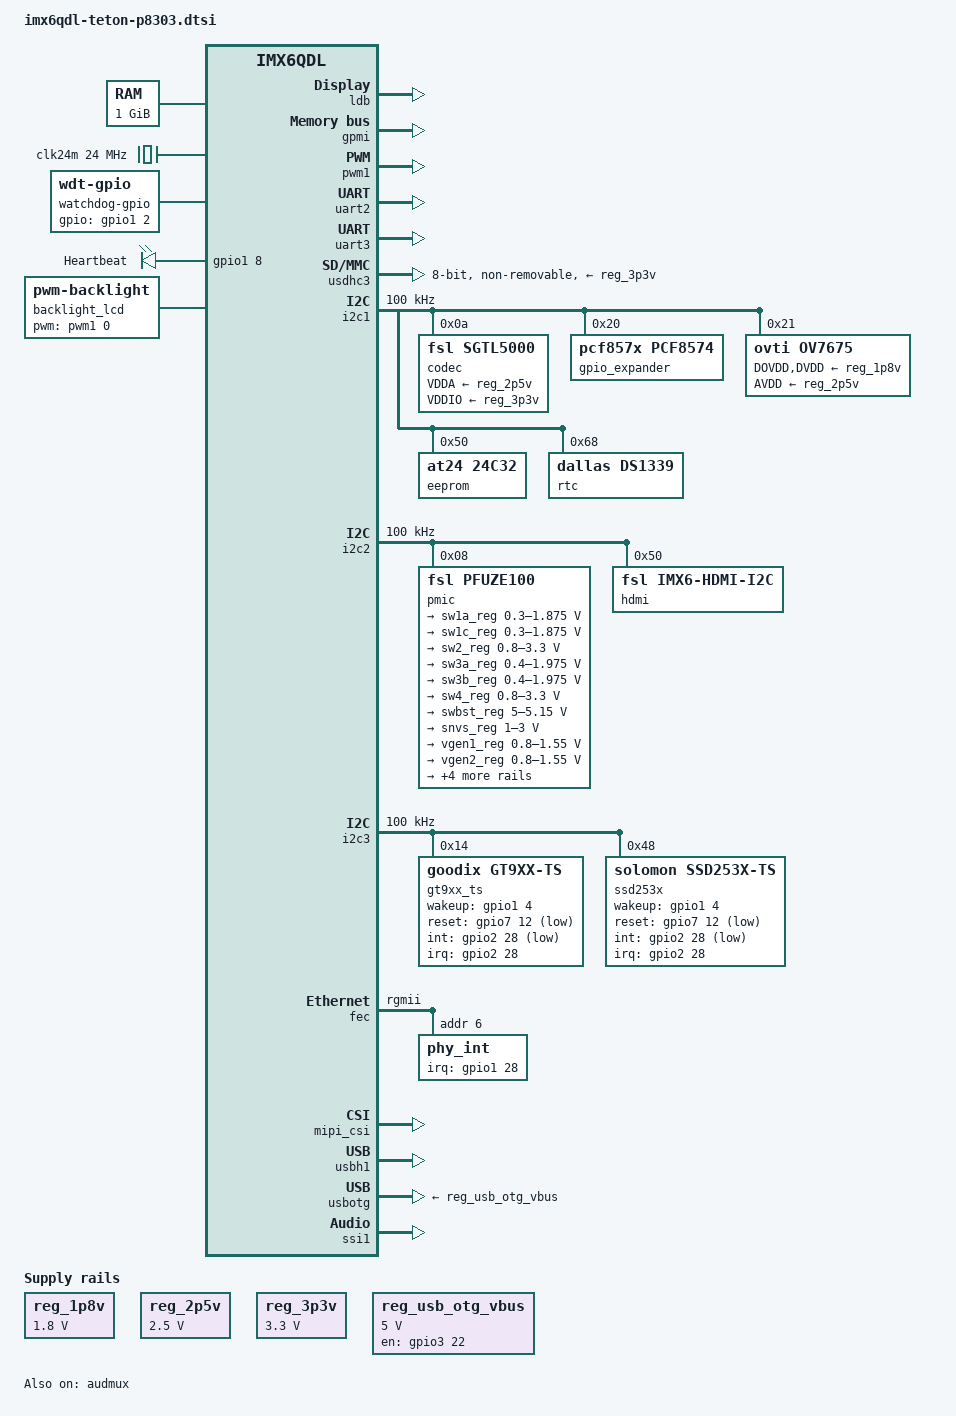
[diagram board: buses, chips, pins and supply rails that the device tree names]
/*
 * Copyright 2015-2016 Analogue & Micro, Ltd.
 * Copyright 2012 Freescale Semiconductor, Inc.
 * Copyright 2011 Linaro Ltd.
 *
 * The code contained herein is licensed under the GNU General Public
 * License. You may obtain a copy of the GNU General Public License
 * Version 2 or later at the following locations:
 *
 * http://www.opensource.org/licenses/gpl-license.html
 * http://www.gnu.org/copyleft/gpl.html
 */
/ {
	aliases {
		mmc0 = &usdhc3;
		mxcfb0 = &ldb_display;
		mxcfb1 = &lcd_display;
		ldb_display = &ldb_display;
		lcd_display = &lcd_display;
	};

	memory {
		reg = <0x10000000 0x40000000>;
	};

	clocks {
		clk24m: clk24m {
			compatible = "fixed-clock";
			#clock-cells = <0>;
			clock-frequency = <24000000>;
		};
	};

	regulators {
		compatible = "simple-bus";

		reg_1p8v: 1p8v {
			compatible = "regulator-fixed";
			regulator-name = "1P8V";
			regulator-min-microvolt = <1800000>;
			regulator-max-microvolt = <1800000>;
			regulator-always-on;
		};

		reg_2p5v: 2p5v {
			compatible = "regulator-fixed";
			regulator-name = "2P5V";
			regulator-min-microvolt = <2500000>;
			regulator-max-microvolt = <2500000>;
			regulator-always-on;
		};

		reg_3p3v: 3p3v {
			compatible = "regulator-fixed";
			regulator-name = "3P3V";
			regulator-min-microvolt = <3300000>;
			regulator-max-microvolt = <3300000>;
			regulator-always-on;
		};

		reg_usb_otg_vbus: usb_otg_vbus {
			compatible = "regulator-fixed";
			regulator-name = "usb_otg_vbus";
			regulator-min-microvolt = <5000000>;
			regulator-max-microvolt = <5000000>;
			gpio = <&gpio3 22 0>;
			enable-active-high;
		};
	};

        watchdog-gpio {
                compatible = "linux,wdt-gpio";
                gpios = <&gpio1 2 0>;
                gpio-device = &gpio1;
		hw_algo = "toggle";
		hw_margin_ms = <100>;
        };

	leds {
		compatible = "gpio-leds";

		debug-led {
			label = "Heartbeat";
			gpios = <&gpio1 8 0>;
			linux,default-trigger = "heartbeat";
		};
	};

	sound: sgtl5000 {
		compatible = "fsl,imx6q-teton-p8303-sgtl5000",
			     "fsl,imx-audio-sgtl5000";
		model = "imx6q-teton-p8303-sgtl5000";
		cpu-dai = <&ssi1>;
		audio-codec = <&codec>;
		audio-routing =
			"MIC_IN", "Mic Jack",
			"Mic Jack", "Mic Bias",
			"Headphone Jack", "HP_OUT";
		mux-int-port = <1>;
		mux-ext-port = <3>;
	};

	ldb_display: fb@0 {
		compatible = "fsl,mxc_sdc_fb";
		disp_dev = "ldb";
		interface_pix_fmt = "RGB666";
		default_bpp = <18>;
		int_clk = <0>;
		late_init = <0>;
		status = "okay";
	};

	lcd_display: fb@1 {
		compatible = "fsl,mxc_sdc_fb";
		disp_dev = "lcd";
		interface_pix_fmt = "RGB24";
		mode_str ="CLAA-WVGA";
		default_bpp = <24>;
		int_clk = <0>;
		late_init = <0>;
		status = "okay";
	};

        lcd@0 {
                compatible = "fsl,lcd";
                ipu_id = <0>;
                disp_id = <0>;
                default_ifmt = "RGB565";
                pinctrl-names = "default";
                pinctrl-0 = <&pinctrl_ipu1_4>;
                status = "okay";
        };

	backlight_lcd {
		compatible = "pwm-backlight";
		pwms = <&pwm1 0 5000000>;
		brightness-levels = <0 4 8 16 32 64 128 255>;
		default-brightness-level = <7>;
	};

	v4l2_cap_0: v4l2_cap_0 {
		compatible = "fsl,imx6q-v4l2-capture";
		ipu_id = <0>;
		csi_id = <0>;
		mclk_source = <0>;
		status = "okay";
	};

	v4l2_out {
		compatible = "fsl,mxc_v4l2_output";
		status = "okay";
	};
};

&ldb {
	ext_ref = <1>;
	status = "okay";

	lvds-channel@0 {
		crtc = "ipu1-di0";
		fsl,data-mapping = "spwg";
		fsl,data-width = <18>;
		status = "okay";
		primary;

		display-timings {
			ldb_timing: lp101wx1 {
				clock-frequency = <72000000>;
				hactive = <1280>;
				vactive = <800>;
				hback-porch = <48>;
				hfront-porch = <80>;
				vback-porch = <15>;
				vfront-porch = <2>;
				hsync-len = <32>;
				vsync-len = <6>;
			};
		};
	};
};

&gpmi {
        pinctrl-names = "default";
        pinctrl-0 = <&pinctrl_gpmi_nand_1>;
        status = "okay";
        nand-on-flash-bbt;
	/* FLASH Layout - needs to match U-Boot info */
	partition@0000000 {
	        label = "U-Boot";
		reg = <0x00000000 0x003E0000>;
	};
	partition@0780000 {
	        label = "U-Boot env";
		reg = <0x003E0000 0x00020000>;
	};
	partition@0800000 {
	        label = "Linux kernel";
		reg = <0x00400000 0x02000000>;
	};
	partition@4800000 {
	        label = "File system";
		reg = <0x02400000 0x1DC00000>;
	};
};

&pwm1 {
	pinctrl-names = "default";
	pinctrl-0 = <&pinctrl_pwm1_3>;
	status = "okay";
};

&uart2 {
	pinctrl-names = "default";
	pinctrl-0 = <&pinctrl_uart2_1>;
	status = "okay";
};

&uart3 {
	pinctrl-names = "default";
	pinctrl-0 = <&pinctrl_uart3_2>;
	status = "okay";
};

&usdhc3 {
	pinctrl-names = "default";
	pinctrl-0 = <&pinctrl_usdhc3_1_100mhz>;
	bus-width = <8>;
	non-removable;
	vmmc-supply = <&reg_3p3v>;
	status = "okay";
};

&i2c1 {
	clock-frequency = <100000>;
	pinctrl-names = "default";
	pinctrl-0 = <&pinctrl_i2c1_1>;
	status = "okay";

	codec: sgtl5000@0a {
		compatible = "fsl,sgtl5000";
		reg = <0x0a>;
		clocks = <&clks 201>;
		VDDA-supply = <&reg_2p5v>;
		VDDIO-supply = <&reg_3p3v>;
	};

        gpio_expander@20 {
                compatible = "pcf857x,pcf8574";
                reg = <0x20>;
        };

	ov7675: ov7675@21 {
		compatible = "ovti,ov7675";
		reg = <0x21>;
                pinctrl-names = "default";
                pinctrl-0 = <&pinctrl_ipu1_2>;
                clocks = <&clks 200>;
		clock-names = "csi_mclk";
		DOVDD-supply = <&reg_1p8v>;
		AVDD-supply = <&reg_2p5v>;
		DVDD-supply = <&reg_1p8v>;
		ipu_id = <0>;
		csi_id = <0>;
		mclk = <26000000>;
		mclk_source = <0>;
	};

        eeprom@50 {
                compatible = "at24,24c32";
                reg = <0x50>;
        };

        rtc@68 {
                compatible = "dallas,ds1339";
                reg = <0x68>;
        };
};

&i2c2 {
	clock-frequency = <100000>;
	pinctrl-names = "default";
	pinctrl-0 = <&pinctrl_i2c2_2>;
	status = "okay";

	pmic: pfuze100@08 {
		compatible = "fsl,pfuze100";
		reg = <0x08>;

		regulators {
			sw1a_reg: sw1ab {
				regulator-min-microvolt = <300000>;
				regulator-max-microvolt = <1875000>;
				regulator-boot-on;
				regulator-always-on;
				regulator-ramp-delay = <6250>;
			};

			sw1c_reg: sw1c {
				regulator-min-microvolt = <300000>;
				regulator-max-microvolt = <1875000>;
				regulator-boot-on;
				regulator-always-on;
				regulator-ramp-delay = <6250>;
			};

			sw2_reg: sw2 {
				regulator-min-microvolt = <800000>;
				regulator-max-microvolt = <3300000>;
				regulator-boot-on;
				regulator-always-on;
			};

			sw3a_reg: sw3a {
				regulator-min-microvolt = <400000>;
				regulator-max-microvolt = <1975000>;
				regulator-boot-on;
				regulator-always-on;
			};

			sw3b_reg: sw3b {
				regulator-min-microvolt = <400000>;
				regulator-max-microvolt = <1975000>;
				regulator-boot-on;
				regulator-always-on;
			};

			sw4_reg: sw4 {
				regulator-min-microvolt = <800000>;
				regulator-max-microvolt = <3300000>;
			};

			swbst_reg: swbst {
				regulator-min-microvolt = <5000000>;
				regulator-max-microvolt = <5150000>;
			};

			snvs_reg: vsnvs {
				regulator-min-microvolt = <1000000>;
				regulator-max-microvolt = <3000000>;
				regulator-boot-on;
				regulator-always-on;
			};

			vref_reg: vrefddr {
				regulator-boot-on;
				regulator-always-on;
			};

			vgen1_reg: vgen1 {
				regulator-min-microvolt = <800000>;
				regulator-max-microvolt = <1550000>;
			};

			vgen2_reg: vgen2 {
				regulator-min-microvolt = <800000>;
				regulator-max-microvolt = <1550000>;
			};

			vgen3_reg: vgen3 {
				regulator-min-microvolt = <1800000>;
				regulator-max-microvolt = <3300000>;
			};

			vgen4_reg: vgen4 {
				regulator-min-microvolt = <1800000>;
				regulator-max-microvolt = <3300000>;
				regulator-always-on;
			};

			vgen5_reg: vgen5 {
				regulator-min-microvolt = <1800000>;
				regulator-max-microvolt = <3300000>;
				regulator-always-on;
			};

			vgen6_reg: vgen6 {
				regulator-min-microvolt = <1800000>;
				regulator-max-microvolt = <3300000>;
				regulator-always-on;
			};
		};
	};

	hdmi: edid@50 {
		compatible = "fsl,imx6-hdmi-i2c";
		reg = <0x50>;
	};
};

&i2c3 {
	clock-frequency = <100000>;
	pinctrl-names = "default";
	pinctrl-0 = <&pinctrl_i2c3_2>;
	status = "okay";

        gt9xx_ts@14 {
                compatible = "goodix,gt9xx-ts";
                reg = <0x14>;
                interrupt-parent = <&gpio2>;
                interrupts = <28 2>;
                wakeup-gpios = <&gpio1 4 0>;
		reset-gpio = <&gpio7 12 1>;
		int-gpio = <&gpio2 28 1>;
        };

        ssd253x@48 {
                compatible = "solomon,ssd253x-ts";
                reg = <0x48>;
                interrupt-parent = <&gpio2>;
                interrupts = <28 2>;
                wakeup-gpios = <&gpio1 4 0>;
		reset-gpio = <&gpio7 12 1>;
		int-gpio = <&gpio2 28 1>;
        };
};

&fec {
	pinctrl-names = "default";
	pinctrl-0 = <&pinctrl_enet_4>;
	phy-mode = "rgmii";
	status = "okay";

	#address-cells = <0>;
	#size-cells = <1>;
	phy_int {
		reg = <0x6>;
		interrupt-parent = <&gpio1>;
		interrupts = <28 IRQ_TYPE_LEVEL_LOW>;
	};
};

&mipi_csi {
	lanes = <2>;
	status = "okay";
};

&usbh1 {
	status = "okay";
};

&usbotg {
	vbus-supply = <&reg_usb_otg_vbus>;
	pinctrl-names = "default";
	pinctrl-0 = <&pinctrl_usbotg_1>;
	disable-over-current;
	status = "okay";
};

&ssi1 {
	fsl,mode = "i2s-slave";
	status = "okay";
};

&audmux {
	pinctrl-names = "default";
	pinctrl-0 = <&pinctrl_audmux_2>;
	status = "okay";
};

&iomuxc {
	pinctrl-names = "default";
	pinctrl-0 = <&pinctrl_hog_1>;

	imx6q-teton-p8303 {
		pinctrl_hog_1: hoggrp-1 {
			fsl,pins = <
				MX6QDL_PAD_NANDF_CS3__GPIO6_IO16	0x80000000	/* USDHC3 CD */
				MX6QDL_PAD_ENET_TX_EN__GPIO1_IO28	0x1b0b0		/* ethernet phy interrupt */
				MX6QDL_PAD_GPIO_8__GPIO1_IO08		0x80000000	/* heartbeat LED */
				MX6QDL_PAD_GPIO_2__GPIO1_IO02		0x80000000	/* watchdog control */
				MX6QDL_PAD_EIM_D22__GPIO3_IO22          0x80000000	/* USB/OTG power enable */
				MX6QDL_PAD_GPIO_0__CCM_CLKO1		0x000b0		/* SGTL5000 sys_mclk */
				MX6QDL_PAD_GPIO_4__GPIO1_IO04           0x80000000      /* Touch panel power */
				MX6QDL_PAD_GPIO_17__GPIO7_IO12          0x80000000      /* Touch panel reset */
				MX6QDL_PAD_EIM_EB0__GPIO2_IO28	        0x1b0b0		/* Touch panel interrupt */
				MX6QDL_PAD_EIM_D16__GPIO3_IO16          0x80000000      /* Misc GPIO */
				MX6QDL_PAD_EIM_D18__GPIO3_IO18          0x80000000      /* Misc GPIO */
				MX6QDL_PAD_EIM_D22__GPIO3_IO22          0x80000000      /* Biometrics power enable */
				MX6QDL_PAD_KEY_COL4__GPIO4_IO14         0x80000000      /* Biometrics USB power over current */
				MX6QDL_PAD_GPIO_1__GPIO1_IO01           0x80000000      /* Biometrics USB power OTG control */
				MX6QDL_PAD_NANDF_CS2__GPIO6_IO15        0x80000000      /* Misc GPIO */
			>;
		};
	};
};
